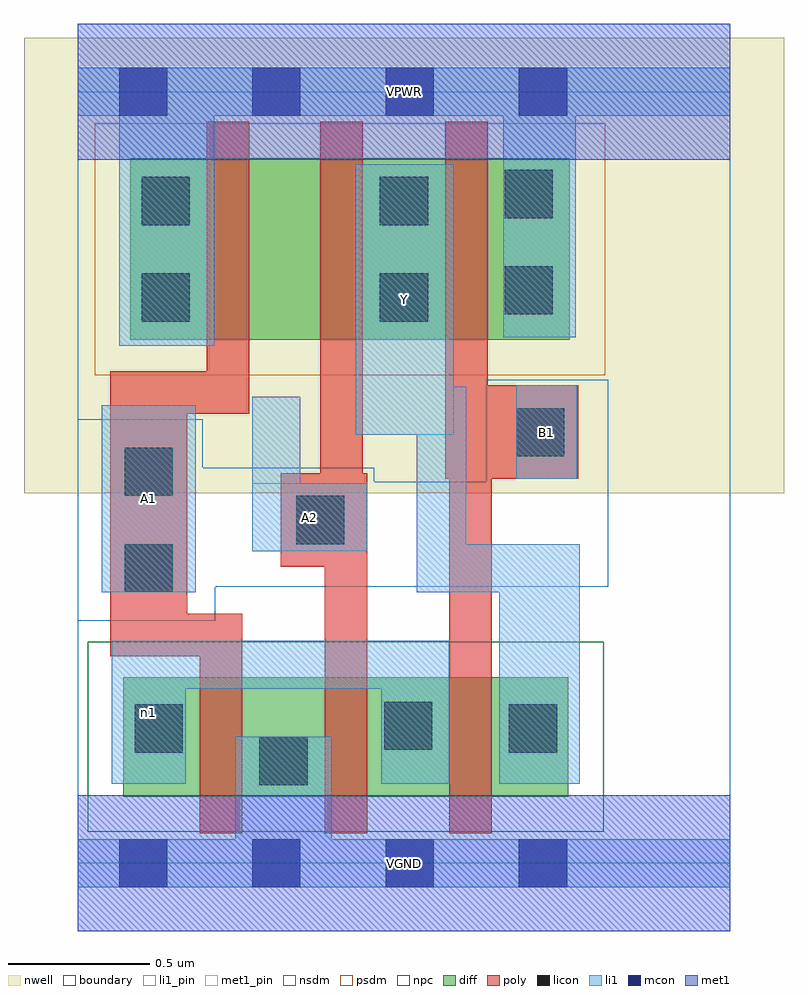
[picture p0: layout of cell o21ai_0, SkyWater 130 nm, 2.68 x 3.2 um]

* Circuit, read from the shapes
.subckt o21ai_0 A1 A2 B1 VGND VPWR Y n1
XM1 VGND A1 n1 VSUBS sky130_fd_pr__nfet_01v8 w=0.42 l=0.15
XM2 n1 A2 VGND VSUBS sky130_fd_pr__nfet_01v8 w=0.42 l=0.15
XM3 Y B1 n1 VSUBS sky130_fd_pr__nfet_01v8 w=0.42 l=0.15
XM4 n2 A1 VPWR n3 sky130_fd_pr__pfet_01v8 w=0.64 l=0.15
XM5 Y A2 n2 n3 sky130_fd_pr__pfet_01v8 w=0.64 l=0.15
XM6 VPWR B1 Y n3 sky130_fd_pr__pfet_01v8 w=0.64 l=0.15
.ends

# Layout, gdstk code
import gdstk
lib = gdstk.Library(unit=1e-6, precision=1e-09)
def R(c, l, rs):  # rectangles x0, y0, x1, y1
    for r in rs: c.add(gdstk.rectangle(r[:2], r[2:], *l))
def A(c, l, x, y, w, h, nx, ny, dx, dy):  # array of equal rectangles
    R(c, l, [(x+i*dx, y+j*dy, x+i*dx+w, y+j*dy+h) for i in range(nx) for j in range(ny)])
nwell = (64, 20)
diff = (65, 20)
poly = (66, 20)
licon = (66, 44)
li1_pin = (67, 16)
li1 = (67, 20)
mcon = (67, 44)
met1_pin = (68, 16)
met1 = (68, 20)
nsdm = (93, 44)
psdm = (94, 20)
npc = (95, 20)
boundary = (235, 4)

o21ai_0 = lib.new_cell('o21ai_0')
R(o21ai_0, nwell, [(-0.19,1.305,2.49,2.91), (0,1.305,2.3,2.91)])
R(o21ai_0, diff, [(0.16,0.235,1.73,0.655), (0.185,1.845,1.735,2.485)])
R(o21ai_0, poly, [(0.43,0.105,0.58,0.88), (0.87,0.105,1.02,1.375), (1.31,0.105,1.46,1.685), (0.115,0.73,0.385,1.735), (0.115,0.73,0.58,0.88), (0.715,1.045,1.02,1.375), (0.855,1.045,1.005,2.615), (1.295,1.355,1.445,2.615), (1.295,1.355,1.765,1.685), (0.115,1.585,0.605,1.735), (0.455,1.585,0.605,2.615)])
R(o21ai_0, licon, [(0.64,0.275,0.81,0.445), (0.2,0.39,0.37,0.56), (1.52,0.39,1.69,0.56), (1.08,0.4,1.25,0.57), (0.165,0.955,0.335,1.125), (0.77,1.125,0.94,1.295), (0.165,1.295,0.335,1.465), (1.545,1.435,1.715,1.605), (0.225,1.91,0.395,2.08), (1.065,1.91,1.235,2.08), (1.505,1.935,1.675,2.105), (0.225,2.25,0.395,2.42), (1.065,2.25,1.235,2.42), (1.505,2.275,1.675,2.445)])
R(o21ai_0, li1_pin, [(0.085,0.955,0.415,1.615), (0.615,1.1,1.02,1.34), (1.545,1.355,1.76,1.685), (0.98,1.51,1.325,2.465)])
R(o21ai_0, li1, [(0,-0.085,2.3,0.085), (0.555,-0.085,0.895,0.445), (0.12,0.28,0.38,0.785), (1.07,0.28,1.31,0.785), (1.485,0.28,1.77,1.125), (0.12,0.615,1.31,0.785), (0.085,0.955,0.415,1.615), (1.195,0.955,1.37,1.68), (1.195,0.955,1.77,1.125), (0.615,1.1,1.02,1.34), (0.615,1.1,0.785,1.645), (1.545,1.355,1.76,1.685), (0.98,1.51,1.325,2.465), (0.145,1.825,0.48,2.805), (1.5,1.855,1.755,2.805), (0,2.635,2.3,2.805)])
A(o21ai_0, mcon, 0.145, -0.085, 0.17, 0.17, 4, 2, 0.47, 2.72)
R(o21ai_0, met1_pin, [(0,-0.24,2.3,0.24), (0,2.48,2.3,2.96)])
R(o21ai_0, met1, [(0,-0.24,2.3,0.24), (0,2.48,2.3,2.96)])
R(o21ai_0, nsdm, [(0.035,0.11,1.855,0.78)])
R(o21ai_0, psdm, [(0.06,1.72,1.86,2.61)])
R(o21ai_0, npc, [(0,0.855,0.44,1.565), (0,0.855,0.485,1.395), (0,0.975,1.87,1.345), (0,0.975,1.045,1.395), (1.44,0.975,1.87,1.705)])
R(o21ai_0, boundary, [(0,0,2.3,2.72)])
o21ai_0.add(gdstk.Label('A1', (0.25,1.285), layer=67, texttype=5))
o21ai_0.add(gdstk.Label('A2', (0.817,1.22), layer=67, texttype=5))
o21ai_0.add(gdstk.Label('B1', (1.652,1.52), layer=67, texttype=5))
o21ai_0.add(gdstk.Label('Y', (1.152,1.987), layer=67, texttype=5))
o21ai_0.add(gdstk.Label('n1', (0.25,0.532), layer=67, texttype=5))
o21ai_0.add(gdstk.Label('VPWR', (1.15,2.72), layer=68, texttype=5))
o21ai_0.add(gdstk.Label('VGND', (1.15,0), layer=68, texttype=5))
o21ai_0.add(gdstk.Label('A1', (0.25,1.285), layer=67, texttype=16))
o21ai_0.add(gdstk.Label('A2', (0.817,1.22), layer=67, texttype=16))
o21ai_0.add(gdstk.Label('B1', (1.652,1.52), layer=67, texttype=16))
o21ai_0.add(gdstk.Label('Y', (1.152,1.987), layer=67, texttype=16))
o21ai_0.add(gdstk.Label('VPWR', (1.15,2.72), layer=68, texttype=16))
o21ai_0.add(gdstk.Label('VGND', (1.15,0), layer=68, texttype=16))

lib.write_gds('o21ai_0.gds')
